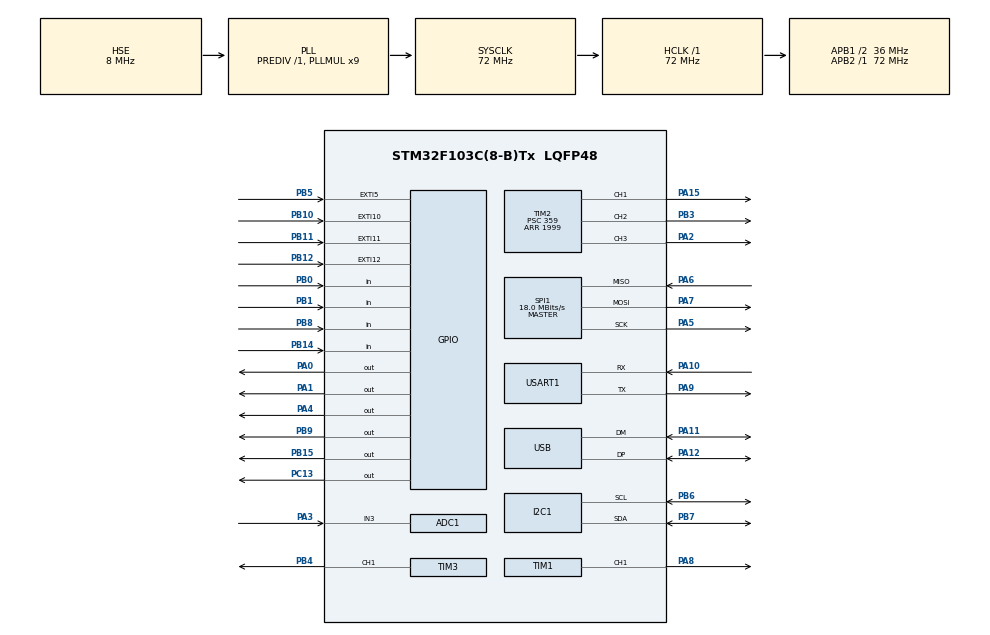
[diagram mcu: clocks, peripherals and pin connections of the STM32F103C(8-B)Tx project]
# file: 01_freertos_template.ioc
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ADC1.Channel-1\#ChannelRegularConversion=ADC_CHANNEL_3
ADC1.NbrOfConversionFlag=1
ADC1.Rank-1\#ChannelRegularConversion=1
ADC1.SamplingTime-1\#ChannelRegularConversion=ADC_SAMPLETIME_1CYCLE_5
ADC1.master=1
FREERTOS.Tasks01=defaultTask,24,128,StartDefaultTask,Default,NULL,Dynamic,NULL,NULL
FREERTOS.configGENERATE_RUN_TIME_STATS=1
FREERTOS.configTOTAL_HEAP_SIZE=8000
FREERTOS.configUSE_IDLE_HOOK=1
FREERTOS.configUSE_STATS_FORMATTING_FUNCTIONS=1
Mcu.Family=STM32F1
Mcu.Name=STM32F103C(8-B)Tx
Mcu.Package=LQFP48
NVIC.EXTI15_10_IRQn=true\:5\:0\:false\:false\:true\:true\:true\:true\:true
NVIC.EXTI9_5_IRQn=true\:5\:0\:false\:false\:true\:true\:true\:true\:true
NVIC.PriorityGroup=NVIC_PRIORITYGROUP_4
NVIC.TIM4_IRQn=true\:15\:0\:false\:false\:true\:false\:false\:true\:true
NVIC.TimeBase=TIM4_IRQn
NVIC.TimeBaseIP=TIM4
PA0-WKUP.Signal=GPIO_Output
PA1.GPIO_ModeDefaultOutputPP=GPIO_MODE_OUTPUT_OD
PA1.GPIO_PuPd=GPIO_PULLUP
PA1.Signal=GPIO_Output
PA10.Mode=Asynchronous
PA10.Signal=USART1_RX
PA11.Mode=Device
PA11.Signal=USB_DM
PA12.Mode=Device
PA12.Signal=USB_DP
PA13.Mode=Serial_Wire
PA13.Signal=SYS_JTMS-SWDIO
PA14.Mode=Serial_Wire
PA14.Signal=SYS_JTCK-SWCLK
PA15.Signal=S_TIM2_CH1_ETR
PA2.Signal=S_TIM2_CH3
PA3.Signal=ADCx_IN3
PA4.Signal=GPIO_Output
PA5.Mode=Full_Duplex_Master
PA5.Signal=SPI1_SCK
PA6.Mode=Full_Duplex_Master
PA6.Signal=SPI1_MISO
PA7.Mode=Full_Duplex_Master
PA7.Signal=SPI1_MOSI
PA8.Signal=S_TIM1_CH1
PA9.Mode=Asynchronous
PA9.Signal=USART1_TX
PB0.GPIO_PuPd=GPIO_PULLUP
PB0.Signal=GPIO_Input
PB1.GPIO_PuPd=GPIO_PULLUP
PB1.Signal=GPIO_Input
PB10.GPIO_ModeDefaultEXTI=GPIO_MODE_IT_RISING_FALLING
PB10.GPIO_PuPd=GPIO_PULLUP
PB10.Signal=GPXTI10
PB11.GPIO_PuPd=GPIO_PULLUP
PB11.Signal=GPXTI11
PB12.GPIO_ModeDefaultEXTI=GPIO_MODE_IT_RISING
PB12.Signal=GPXTI12
PB14.Signal=GPIO_Input
PB15.Signal=GPIO_Output
PB3.Signal=S_TIM2_CH2
PB4.Signal=S_TIM3_CH1
PB5.GPIO_ModeDefaultEXTI=GPIO_MODE_IT_RISING
PB5.Signal=GPXTI5
PB6.Mode=I2C
PB6.Signal=I2C1_SCL
PB7.Mode=I2C
PB7.Signal=I2C1_SDA
PB8.Signal=GPIO_Input
PB9.Signal=GPIO_Output
PC13-TAMPER-RTC.Signal=GPIO_Output
PC14-OSC32_IN.Signal=RCC_OSC32_IN
PC15-OSC32_OUT.Signal=RCC_OSC32_OUT
PD0-OSC_IN.Mode=HSE-External-Oscillator
PD0-OSC_IN.Signal=RCC_OSC_IN
PD1-OSC_OUT.Mode=HSE-External-Oscillator
PD1-OSC_OUT.Signal=RCC_OSC_OUT
ProjectManager.HeapSize=0x200
ProjectManager.StackSize=0x400
ProjectManager.TargetToolchain=MDK-ARM V5.32
RCC.ADCPresc=RCC_ADCPCLK2_DIV6
RCC.AHBFreq_Value=72000000
RCC.APB1CLKDivider=RCC_HCLK_DIV2
RCC.APB1Freq_Value=36000000
RCC.APB1TimFreq_Value=72000000
RCC.APB2Freq_Value=72000000
RCC.APB2TimFreq_Value=72000000
RCC.HCLKFreq_Value=72000000
RCC.PLLMUL=RCC_PLL_MUL9
RCC.PLLSourceVirtual=RCC_PLLSOURCE_HSE
RCC.SYSCLKFreq_VALUE=72000000
RCC.SYSCLKSource=RCC_SYSCLKSOURCE_PLLCLK
RCC.USBFreq_Value=48000000
RCC.USBPrescaler=RCC_USBCLKSOURCE_PLL_DIV1_5
SH.ADCx_IN3.0=ADC1_IN3,IN3
SH.S_TIM1_CH1.0=TIM1_CH1,PWM Generation1 CH1
SH.S_TIM2_CH1_ETR.0=TIM2_CH1,PWM Generation1 CH1
SH.S_TIM2_CH2.0=TIM2_CH2,PWM Generation2 CH2
SH.S_TIM2_CH3.0=TIM2_CH3,PWM Generation3 CH3
SH.S_TIM3_CH1.0=TIM3_CH1,PWM Generation1 CH1
SPI1.BaudRatePrescaler=SPI_BAUDRATEPRESCALER_4
SPI1.CalculateBaudRate=18.0 MBits/s
SPI1.Direction=SPI_DIRECTION_2LINES
SPI1.Mode=SPI_MODE_MASTER
SPI1.VirtualType=VM_MASTER
TIM1.AutoReloadPreload=TIM_AUTORELOAD_PRELOAD_ENABLE
TIM1.Channel-PWM\ Generation1\ CH1=TIM_CHANNEL_1
TIM1.Period=999
TIM1.Prescaler=71
TIM1.Pulse-PWM\ Generation1\ CH1=499
TIM2.AutoReloadPreload=TIM_AUTORELOAD_PRELOAD_ENABLE
TIM2.Channel-PWM\ Generation1\ CH1=TIM_CHANNEL_1
TIM2.Channel-PWM\ Generation2\ CH2=TIM_CHANNEL_2
TIM2.Channel-PWM\ Generation3\ CH3=TIM_CHANNEL_3
TIM2.Period=1999
TIM2.Prescaler=359
TIM3.AutoReloadPreload=TIM_AUTORELOAD_PRELOAD_ENABLE
TIM3.Channel-PWM\ Generation1\ CH1=TIM_CHANNEL_1
TIM3.Period=999
TIM3.Prescaler=7
TIM3.Pulse-PWM\ Generation1\ CH1=900
USART1.VirtualMode=VM_ASYNC
VP_FREERTOS_VS_CMSIS_V2.Mode=CMSIS_V2
VP_SYS_VS_tim4.Mode=TIM4
VP_TIM1_VS_ClockSourceINT.Mode=Internal
VP_TIM2_VS_ClockSourceINT.Mode=Internal
board=custom

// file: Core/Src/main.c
/* USER CODE BEGIN Header */
/**
  ******************************************************************************
  * @file           : main.c
  * @brief          : Main program body
  ******************************************************************************
  * @attention
  *
  * Copyright (c) 2023 STMicroelectronics.
  * All rights reserved.
  *
  * This software is licensed under terms that can be found in the LICENSE file
  * in the root directory of this software component.
  * If no LICENSE file comes with this software, it is provided AS-IS.
  *
  ******************************************************************************
  */
/* USER CODE END Header */
#include "main.h"
#include "cmsis_os.h"
#include "adc.h"
#include "i2c.h"
#include "spi.h"
#include "tim.h"
#include "usart.h"
#include "usb.h"
#include "gpio.h"

void SystemClock_Config(void);
void MX_FREERTOS_Init(void);

int main(void)
{

  /* MCU Configuration--------------------------------------------------------*/

  /* Reset of all peripherals, Initializes the Flash interface and the Systick. */
  HAL_Init();

  /* Configure the system clock */
  SystemClock_Config();

  /* USER CODE BEGIN SysInit */

	// 1. 开启 DWT 功能
CoreDebug->DEMCR |= CoreDebug_DEMCR_TRCENA_Msk;

// 2. 清零周期计数器
DWT->CYCCNT = 0;

// 3. 启动周期计数
DWT->CTRL |= DWT_CTRL_CYCCNTENA_Msk;

  /* USER CODE END SysInit */

  /* Initialize all configured peripherals */
  MX_GPIO_Init();
  MX_I2C1_Init();
  MX_ADC1_Init();
  MX_SPI1_Init();
  MX_USB_PCD_Init();
  MX_TIM1_Init();
  MX_TIM2_Init();
  MX_TIM3_Init();
  MX_USART1_UART_Init();

  /* Init scheduler */
  osKernelInitialize();  /* Call init function for freertos objects (in cmsis_os2.c) */
  MX_FREERTOS_Init();

  /* Start scheduler */
  osKernelStart();

  /* We should never get here as control is now taken by the scheduler */

  /* Infinite loop */
  while (1)
  {

  }
}

void SystemClock_Config(void)
{
  RCC_OscInitTypeDef RCC_OscInitStruct = {0};
  RCC_ClkInitTypeDef RCC_ClkInitStruct = {0};
  RCC_PeriphCLKInitTypeDef PeriphClkInit = {0};

  /** Initializes the RCC Oscillators according to the specified parameters
  * in the RCC_OscInitTypeDef structure.
  */
  RCC_OscInitStruct.OscillatorType = RCC_OSCILLATORTYPE_HSE;
  RCC_OscInitStruct.HSEState = RCC_HSE_ON;
  RCC_OscInitStruct.HSEPredivValue = RCC_HSE_PREDIV_DIV1;
  RCC_OscInitStruct.HSIState = RCC_HSI_ON;
  RCC_OscInitStruct.PLL.PLLState = RCC_PLL_ON;
  RCC_OscInitStruct.PLL.PLLSource = RCC_PLLSOURCE_HSE;
  RCC_OscInitStruct.PLL.PLLMUL = RCC_PLL_MUL9;
  if (HAL_RCC_OscConfig(&RCC_OscInitStruct) != HAL_OK)
  {
    Error_Handler();
  }

  /** Initializes the CPU, AHB and APB buses clocks
  */
  RCC_ClkInitStruct.ClockType = RCC_CLOCKTYPE_HCLK|RCC_CLOCKTYPE_SYSCLK
                              |RCC_CLOCKTYPE_PCLK1|RCC_CLOCKTYPE_PCLK2;
  RCC_ClkInitStruct.SYSCLKSource = RCC_SYSCLKSOURCE_PLLCLK;
  RCC_ClkInitStruct.AHBCLKDivider = RCC_SYSCLK_DIV1;
  RCC_ClkInitStruct.APB1CLKDivider = RCC_HCLK_DIV2;
  RCC_ClkInitStruct.APB2CLKDivider = RCC_HCLK_DIV1;

  if (HAL_RCC_ClockConfig(&RCC_ClkInitStruct, FLASH_LATENCY_2) != HAL_OK)
  {
    Error_Handler();
  }
  PeriphClkInit.PeriphClockSelection = RCC_PERIPHCLK_ADC|RCC_PERIPHCLK_USB;
  PeriphClkInit.AdcClockSelection = RCC_ADCPCLK2_DIV6;
  PeriphClkInit.UsbClockSelection = RCC_USBCLKSOURCE_PLL_DIV1_5;
  if (HAL_RCCEx_PeriphCLKConfig(&PeriphClkInit) != HAL_OK)
  {
    Error_Handler();
  }
}

void HAL_TIM_PeriodElapsedCallback(TIM_HandleTypeDef *htim)
{
  if (htim->Instance == TIM4)
  {
    HAL_IncTick();
  }
}

void Error_Handler(void)
{
  __disable_irq();
  while (1)
  {
  }
}

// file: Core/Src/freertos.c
/* USER CODE BEGIN Header */
#include "driver_led.h"
#include "driver_lcd.h"
#include "driver_mpu6050.h"
#include "driver_timer.h"
#include "driver_ds18b20.h"
#include "driver_dht11.h"
#include "driver_active_buzzer.h"
#include "driver_passive_buzzer.h"
#include "driver_color_led.h"
#include "driver_ir_receiver.h"
#include "driver_ir_sender.h"
#include "driver_light_sensor.h"
#include "driver_ir_obstacle.h"
#include "driver_ultrasonic_sr04.h"
#include "driver_spiflash_w25q64.h"
#include "driver_rotary_encoder.h"
#include "driver_motor.h"
#include "driver_key.h"
#include "driver_uart.h"
#include "driver_mpu6050.h"
#include "beep.h"
#include "semphr.h"
/**
  ******************************************************************************
  * File Name          : freertos.c
  * Description        : Code for freertos applications
  ******************************************************************************
  * @attention
  *
  * Copyright (c) 2023 STMicroelectronics.
  * All rights reserved.
  *
  * This software is licensed under terms that can be found in the LICENSE file
  * in the root directory of this software component.
  * If no LICENSE file comes with this software, it is provided AS-IS.
  *
  ******************************************************************************
  */
/* USER CODE END Header */

#include "FreeRTOS.h"
#include "task.h"
#include "main.h"
#include "cmsis_os.h"

/* USER CODE BEGIN Variables */
static StackType_t g_pucStackOfLightTask[128];
static StaticTask_t g_TCBofLightTask;
static TaskHandle_t xLightTaskHandle;

static StackType_t g_pucStackOfColorTask[128];
static StaticTask_t g_TCBofColorTask;
static TaskHandle_t xColorTaskHandle;
void game1_task(void *params);
static SemaphoreHandle_t g_xI2CMutex;
static signed char pcWriteBuffer[200];

/* USER CODE END Variables */
/* Definitions for defaultTask */
osThreadId_t defaultTaskHandle;
const osThreadAttr_t defaultTask_attributes = {
  .name = "defaultTask",
  .stack_size = 128 * 4,
  .priority = (osPriority_t) osPriorityNormal,
};

/* USER CODE BEGIN FunctionPrototypes */

void GetI2C(void)
{
	/* 等待互斥量 */
	xSemaphoreTake(g_xI2CMutex, portMAX_DELAY);
}

void PutI2C(void)
{
	/* 释放互斥量 */
	xSemaphoreGive(g_xI2CMutex);
}

/* USER CODE END FunctionPrototypes */

void StartDefaultTask(void *argument);

void MX_FREERTOS_Init(void); /* (MISRA C 2004 rule 8.1) */

/* Hook prototypes */
void configureTimerForRunTimeStats(void);
unsigned long getRunTimeCounterValue(void);
void vApplicationIdleHook(void);

/* USER CODE BEGIN 1 */
/* Functions needed when configGENERATE_RUN_TIME_STATS is on */
__weak void configureTimerForRunTimeStats(void)
{

}

__weak unsigned long getRunTimeCounterValue(void)
{
return 0;
}
/* USER CODE END 1 */

/* USER CODE BEGIN 2 */
void vApplicationIdleHook( void )
{
   /* vApplicationIdleHook() will only be called if configUSE_IDLE_HOOK is set
   to 1 in FreeRTOSConfig.h. It will be called on each iteration of the idle
   task. It is essential that code added to this hook function never attempts
   to block in any way (for example, call xQueueReceive() with a block time
   specified, or call vTaskDelay()). If the application makes use of the
   vTaskDelete() API function (as this demo application does) then it is also
   important that vApplicationIdleHook() is permitted to return to its calling
   function, because it is the responsibility of the idle task to clean up
   memory allocated by the kernel to any task that has since been deleted. */

		//int i;
		////vTaskList(pcWriteBuffer);
	  //vTaskGetRunTimeStats(pcWriteBuffer);
		//for (i = 0; i < 16; i++)
		//printf("-");
		//printf("\n\r");
		//printf("%s\n\r", pcWriteBuffer);
}
/* USER CODE END 2 */

void MX_FREERTOS_Init(void) {
  /* USER CODE BEGIN Init */
  g_xI2CMutex = xSemaphoreCreateMutex();   /* 创建I2C互斥量, 供GetI2C/PutI2C使用 */
  LCD_Init();
  LCD_Clear();

	DHT11_Init();
	MPU6050_Init();
  RotaryEncoder_Init();
  IRReceiver_Init();
	buzzer_init();
  LCD_PrintString(0, 0, "Starting");

  /* USER CODE END Init */

  /* Create the thread(s) */
  /* creation of defaultTask */
  defaultTaskHandle = osThreadNew(StartDefaultTask, NULL, &defaultTask_attributes);

  /* USER CODE BEGIN RTOS_THREADS */
  /* add threads, ... */
  /* 创建任务: 声 */
  //extern void PlayMusic(void *params);
  xTaskCreate(game1_task, "GameTask", 118, NULL, osPriorityNormal, NULL);
	//xTaskCreate(MPU6050_Task, "MPU6050Task", 128, NULL, osPriorityNormal, NULL);

  /* 创建任务: 光 */
  xLightTaskHandle = xTaskCreateStatic(Led_Test, "LightTask", 80, NULL, osPriorityNormal, g_pucStackOfLightTask, &g_TCBofLightTask);

  /* 创建任务: 色 */
  xColorTaskHandle = xTaskCreateStatic(ColorLED_Test, "ColorTask", 128, NULL, osPriorityNormal, g_pucStackOfColorTask, &g_TCBofColorTask);

  /* USER CODE END RTOS_THREADS */

}

void StartDefaultTask(void *argument)
{
  /* USER CODE BEGIN StartDefaultTask */
  /* Infinite loop */

  uint8_t dev, data;
  int len;
	int bRunning;

	TaskHandle_t xSoundTaskHandle = NULL;
	BaseType_t ret;

	vTaskDelete(NULL);

	LCD_Init();
	LCD_Clear();

  IRReceiver_Init();
	LCD_PrintString(0, 0, "Waiting control");

	while (1)
	{

	}

    while (1)
    {
        /* 读取红外遥控器 */
		if (0 == IRReceiver_Read(&dev, &data))
		{
			if (data == 0xa8) /* play */
			{
				/* 创建播放音乐的任务 */
			  extern void PlayMusic(void *params);
			  if (xSoundTaskHandle == NULL)
			  {
					LCD_ClearLine(0, 0);
					LCD_PrintString(0, 0, "Create Task");
					ret = xTaskCreate(PlayMusic, "SoundTask", 128, NULL, osPriorityNormal+1, &xSoundTaskHandle);
					bRunning = 1;
			  }
			  else
			  {
				  /* 要么suspend要么resume */
				  if (bRunning)
				  {
					  LCD_ClearLine(0, 0);
					  LCD_PrintString(0, 0, "Suspend Task");
					  vTaskSuspend(xSoundTaskHandle);
					  PassiveBuzzer_Control(0); /* 停止蜂鸣器 */
					  bRunning = 0;
				  }
				  else
				  {
					  LCD_ClearLine(0, 0);
					  LCD_PrintString(0, 0, "Resume Task");
					  vTaskResume(xSoundTaskHandle);
					  bRunning = 1;
				  }
			  }
			}

			else if (data == 0xa2) /* power */
			{
				/* 删除播放音乐的任务 */
				if (xSoundTaskHandle != NULL)
				{
					LCD_ClearLine(0, 0);
					LCD_PrintString(0, 0, "Delete Task");
					vTaskDelete(xSoundTaskHandle);
					PassiveBuzzer_Control(0); /* 停止蜂鸣器 */
					xSoundTaskHandle = NULL;
				}
			}
		}
    }

  /* USER CODE END StartDefaultTask */
}
